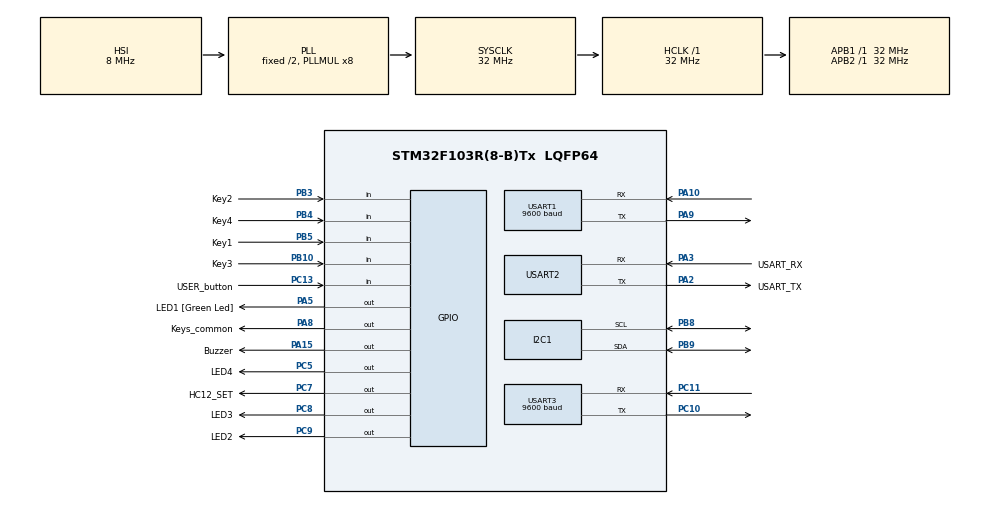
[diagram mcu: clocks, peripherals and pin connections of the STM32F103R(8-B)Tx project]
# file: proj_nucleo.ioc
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FREERTOS.Tasks01=defaultTask,0,128,StartDefaultTask,Default,NULL,Dynamic,NULL,NULL;Keys,0,128,KeysTask,Default,NULL,Dynamic,NULL,NULL
I2C1.I2C_Mode=I2C_Standard
Mcu.Family=STM32F1
Mcu.Name=STM32F103R(8-B)Tx
Mcu.Package=LQFP64
NVIC.PriorityGroup=NVIC_PRIORITYGROUP_4
NVIC.TIM4_IRQn=true\:0\:0\:false\:false\:true\:false\:false\:true
NVIC.TimeBase=TIM4_IRQn
NVIC.TimeBaseIP=TIM4
NVIC.USART1_IRQn=true\:5\:0\:false\:false\:true\:true\:true\:true
PA10.Mode=Asynchronous
PA10.Signal=USART1_RX
PA13.GPIO_Label=TMS
PA13.Mode=Serial_Wire
PA13.Signal=SYS_JTMS-SWDIO
PA14.GPIO_Label=TCK
PA14.Mode=Serial_Wire
PA14.Signal=SYS_JTCK-SWCLK
PA15.GPIO_Label=Buzzer
PA15.PinState=GPIO_PIN_SET
PA15.Signal=GPIO_Output
PA2.GPIO_Label=USART_TX
PA2.GPIO_Mode=GPIO_MODE_AF_PP
PA2.GPIO_PuPd=GPIO_NOPULL
PA2.GPIO_Speed=GPIO_SPEED_FREQ_LOW
PA2.Mode=Asynchronous
PA2.Signal=USART2_TX
PA3.GPIO_Label=USART_RX
PA3.GPIO_Mode=GPIO_MODE_AF_PP
PA3.GPIO_PuPd=GPIO_NOPULL
PA3.GPIO_Speed=GPIO_SPEED_FREQ_LOW
PA3.Mode=Asynchronous
PA3.Signal=USART2_RX
PA5.GPIO_Label=LED1 [Green Led]
PA5.GPIO_ModeDefaultOutputPP=GPIO_MODE_OUTPUT_PP
PA5.GPIO_PuPd=GPIO_NOPULL
PA5.GPIO_Speed=GPIO_SPEED_FREQ_LOW
PA5.PinState=GPIO_PIN_RESET
PA5.Signal=GPIO_Output
PA8.GPIO_Label=Keys_common
PA8.Signal=GPIO_Output
PA9.Mode=Asynchronous
PA9.Signal=USART1_TX
PB10.GPIO_Label=Key3
PB10.GPIO_PuPd=GPIO_PULLUP
PB10.Signal=GPIO_Input
PB3.GPIO_Label=Key2
PB3.GPIO_PuPd=GPIO_PULLUP
PB3.Signal=GPIO_Input
PB4.GPIO_Label=Key4
PB4.GPIO_PuPd=GPIO_PULLUP
PB4.Signal=GPIO_Input
PB5.GPIO_Label=Key1
PB5.GPIO_PuPd=GPIO_PULLUP
PB5.Signal=GPIO_Input
PB8.Mode=I2C
PB8.Signal=I2C1_SCL
PB9.Mode=I2C
PB9.Signal=I2C1_SDA
PC10.Mode=Asynchronous
PC10.Signal=USART3_TX
PC11.Mode=Asynchronous
PC11.Signal=USART3_RX
PC13-TAMPER-RTC.GPIO_Label=USER_button
PC13-TAMPER-RTC.GPIO_PuPd=GPIO_PULLUP
PC13-TAMPER-RTC.Signal=GPIO_Input
PC14-OSC32_IN.Mode=LSE-External-Oscillator
PC14-OSC32_IN.Signal=RCC_OSC32_IN
PC15-OSC32_OUT.Mode=LSE-External-Oscillator
PC15-OSC32_OUT.Signal=RCC_OSC32_OUT
PC5.GPIO_Label=LED4
PC5.PinState=GPIO_PIN_RESET
PC5.Signal=GPIO_Output
PC7.GPIO_Label=HC12_SET
PC7.PinState=GPIO_PIN_SET
PC7.Signal=GPIO_Output
PC8.GPIO_Label=LED3
PC8.Signal=GPIO_Output
PC9.GPIO_Label=LED2
PC9.PinState=GPIO_PIN_RESET
PC9.Signal=GPIO_Output
PD0-OSC_IN.Mode=HSE-External-Clock-Source
PD0-OSC_IN.Signal=RCC_OSC_IN
PD1-OSC_OUT.Mode=HSE-External-Clock-Source
PD1-OSC_OUT.Signal=RCC_OSC_OUT
ProjectManager.HeapSize=0x200
ProjectManager.StackSize=0x400
ProjectManager.TargetToolchain=MDK-ARM V5.27
RCC.AHBFreq_Value=32000000
RCC.APB1Freq_Value=32000000
RCC.APB1TimFreq_Value=32000000
RCC.APB2Freq_Value=32000000
RCC.APB2TimFreq_Value=32000000
RCC.HCLKFreq_Value=32000000
RCC.PLLMUL=RCC_PLL_MUL8
RCC.RTCClockSelection=RCC_RTCCLKSOURCE_LSE
RCC.SYSCLKFreq_VALUE=32000000
RCC.SYSCLKSource=RCC_SYSCLKSOURCE_PLLCLK
RCC.USBFreq_Value=32000000
USART1.BaudRate=9600
USART1.VirtualMode=VM_ASYNC
USART2.VirtualMode=VM_ASYNC
USART3.BaudRate=9600
USART3.VirtualMode=VM_ASYNC
VP_FREERTOS_VS_CMSIS_V1.Mode=CMSIS_V1
VP_SYS_VS_tim4.Mode=TIM4
VP_TIM3_VS_ClockSourceINT.Mode=Internal
VP_TIM3_VS_OPM.Mode=OPM_bit
board=NUCLEO-F103RB

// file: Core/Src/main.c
/* USER CODE BEGIN Header */
/**
  ******************************************************************************
  * @file           : main.c
  * @brief          : Main program body
  ******************************************************************************
  * @attention
  *
  * <h2><center>&copy; Copyright (c) 2020 STMicroelectronics.
  * All rights reserved.</center></h2>
  *
  * This software component is licensed by ST under BSD 3-Clause license,
  * the "License"; You may not use this file except in compliance with the
  * License. You may obtain a copy of the License at:
  *                        opensource.org/licenses/BSD-3-Clause
  *
  ******************************************************************************
  */
/* USER CODE END Header */

#include "main.h"
#include "cmsis_os.h"

/* USER CODE BEGIN Includes */

#include "lcd_led.h"

/* USER CODE END Includes */

I2C_HandleTypeDef hi2c1;

TIM_HandleTypeDef htim3;

UART_HandleTypeDef huart1;
UART_HandleTypeDef huart2;
UART_HandleTypeDef huart3;

osThreadId defaultTaskHandle;
osThreadId KeysHandle;
/* USER CODE BEGIN PV */

uint8_t 	but_press_counter=0, packets_old=0, keys=0;
uint16_t	address=0x4E;
uint32_t	time=0;
enum		Buzzer_state	buzzer_state=BUZZER_ON;
enum 		Screen_state	screen_state=SCREEN_ON;

extern	volatile	uint8_t		gor_left_error, gor_right_error, counter_led4, packet_counter;

osThreadId	errorTaskHandle;
osThreadId	userButtonTaskHandle;

/* USER CODE END PV */

void SystemClock_Config(void);
static void MX_GPIO_Init(void);
static void MX_USART2_UART_Init(void);
static void MX_USART1_UART_Init(void);
static void MX_I2C1_Init(void);
static void MX_USART3_UART_Init(void);
static void MX_TIM3_Init(void);
void StartDefaultTask(void const * argument);
void KeysTask(void const * argument);

/* USER CODE BEGIN PFP */

void	dspl_packets(void);
void	dspl_static_info(void);

void	ErrorIndicateTask(void const * argument);
void	UserButtonTask(void const * argument);

/* USER CODE END PFP */

int main(void)
{

  /* MCU Configuration--------------------------------------------------------*/

  /* Reset of all peripherals, Initializes the Flash interface and the Systick. */
  HAL_Init();

  /* Configure the system clock */
  SystemClock_Config();

  /* Initialize all configured peripherals */
  MX_GPIO_Init();
  MX_USART2_UART_Init();
  MX_USART1_UART_Init();
  MX_I2C1_Init();
  MX_USART3_UART_Init();
  MX_TIM3_Init();
  /* USER CODE BEGIN 2 */

	USART1->CR1 |= USART_CR1_RXNEIE;

	delay_init();
	delay_ms(3);	//event generate in delay_init doesn't help

	delay_ms(100);
//	HAL_GPIO_WritePin(LED3_GPIO_Port, LED3_Pin, GPIO_PIN_SET);
//	delay_ms(1000);

	display_2004_i2c_init(&hi2c1);

	dspl_static_info();

	dspl_packets();

  /* USER CODE END 2 */

  /* Create the thread(s) */
  /* definition and creation of defaultTask */
  osThreadDef(defaultTask, StartDefaultTask, osPriorityNormal, 0, 128);
  defaultTaskHandle = osThreadCreate(osThread(defaultTask), NULL);

  /* definition and creation of Keys */
  osThreadDef(Keys, KeysTask, osPriorityNormal, 0, 128);
  KeysHandle = osThreadCreate(osThread(Keys), NULL);

  /* USER CODE BEGIN RTOS_THREADS */

//	osThreadDef(errorTask, ErrorIndicateTask, osPriorityNormal, 0, 128);
//  errorTaskHandle = osThreadCreate(osThread(errorTask), NULL);

		osThreadDef(buttonTask, UserButtonTask, osPriorityNormal, 0, 128);
		userButtonTaskHandle = osThreadCreate(osThread(buttonTask), NULL);

	//vTaskSuspend(KeysHandle);

  /* USER CODE END RTOS_THREADS */

  /* Start scheduler */
  osKernelStart();

  /* We should never get here as control is now taken by the scheduler */

  /* Infinite loop */
  while (1)
  {

  }
}

void SystemClock_Config(void)
{
  RCC_OscInitTypeDef RCC_OscInitStruct = {0};
  RCC_ClkInitTypeDef RCC_ClkInitStruct = {0};

  /** Initializes the CPU, AHB and APB busses clocks
  */
  RCC_OscInitStruct.OscillatorType = RCC_OSCILLATORTYPE_HSI;
  RCC_OscInitStruct.HSIState = RCC_HSI_ON;
  RCC_OscInitStruct.HSICalibrationValue = RCC_HSICALIBRATION_DEFAULT;
  RCC_OscInitStruct.PLL.PLLState = RCC_PLL_ON;
  RCC_OscInitStruct.PLL.PLLSource = RCC_PLLSOURCE_HSI_DIV2;
  RCC_OscInitStruct.PLL.PLLMUL = RCC_PLL_MUL8;
  if (HAL_RCC_OscConfig(&RCC_OscInitStruct) != HAL_OK)
  {
    Error_Handler();
  }
  /** Initializes the CPU, AHB and APB busses clocks
  */
  RCC_ClkInitStruct.ClockType = RCC_CLOCKTYPE_HCLK|RCC_CLOCKTYPE_SYSCLK
                              |RCC_CLOCKTYPE_PCLK1|RCC_CLOCKTYPE_PCLK2;
  RCC_ClkInitStruct.SYSCLKSource = RCC_SYSCLKSOURCE_PLLCLK;
  RCC_ClkInitStruct.AHBCLKDivider = RCC_SYSCLK_DIV1;
  RCC_ClkInitStruct.APB1CLKDivider = RCC_HCLK_DIV1;
  RCC_ClkInitStruct.APB2CLKDivider = RCC_HCLK_DIV1;

  if (HAL_RCC_ClockConfig(&RCC_ClkInitStruct, FLASH_LATENCY_1) != HAL_OK)
  {
    Error_Handler();
  }
}

static void MX_I2C1_Init(void)
{

  hi2c1.Instance = I2C1;
  hi2c1.Init.ClockSpeed = 100000;
  hi2c1.Init.DutyCycle = I2C_DUTYCYCLE_2;
  hi2c1.Init.OwnAddress1 = 0;
  hi2c1.Init.AddressingMode = I2C_ADDRESSINGMODE_7BIT;
  hi2c1.Init.DualAddressMode = I2C_DUALADDRESS_DISABLE;
  hi2c1.Init.OwnAddress2 = 0;
  hi2c1.Init.GeneralCallMode = I2C_GENERALCALL_DISABLE;
  hi2c1.Init.NoStretchMode = I2C_NOSTRETCH_DISABLE;
  if (HAL_I2C_Init(&hi2c1) != HAL_OK)
  {
    Error_Handler();
  }

}

static void MX_TIM3_Init(void)
{

  TIM_ClockConfigTypeDef sClockSourceConfig = {0};
  TIM_MasterConfigTypeDef sMasterConfig = {0};

  htim3.Instance = TIM3;
  htim3.Init.Prescaler = 0;
  htim3.Init.CounterMode = TIM_COUNTERMODE_UP;
  htim3.Init.Period = 0;
  htim3.Init.ClockDivision = TIM_CLOCKDIVISION_DIV1;
  htim3.Init.AutoReloadPreload = TIM_AUTORELOAD_PRELOAD_DISABLE;
  if (HAL_TIM_Base_Init(&htim3) != HAL_OK)
  {
    Error_Handler();
  }
  sClockSourceConfig.ClockSource = TIM_CLOCKSOURCE_INTERNAL;
  if (HAL_TIM_ConfigClockSource(&htim3, &sClockSourceConfig) != HAL_OK)
  {
    Error_Handler();
  }
  if (HAL_TIM_OnePulse_Init(&htim3, TIM_OPMODE_SINGLE) != HAL_OK)
  {
    Error_Handler();
  }
  sMasterConfig.MasterOutputTrigger = TIM_TRGO_RESET;
  sMasterConfig.MasterSlaveMode = TIM_MASTERSLAVEMODE_DISABLE;
  if (HAL_TIMEx_MasterConfigSynchronization(&htim3, &sMasterConfig) != HAL_OK)
  {
    Error_Handler();
  }

}

static void MX_USART1_UART_Init(void)
{

  huart1.Instance = USART1;
  huart1.Init.BaudRate = 9600;
  huart1.Init.WordLength = UART_WORDLENGTH_8B;
  huart1.Init.StopBits = UART_STOPBITS_1;
  huart1.Init.Parity = UART_PARITY_NONE;
  huart1.Init.Mode = UART_MODE_TX_RX;
  huart1.Init.HwFlowCtl = UART_HWCONTROL_NONE;
  huart1.Init.OverSampling = UART_OVERSAMPLING_16;
  if (HAL_UART_Init(&huart1) != HAL_OK)
  {
    Error_Handler();
  }

}

static void MX_USART2_UART_Init(void)
{

  huart2.Instance = USART2;
  huart2.Init.BaudRate = 115200;
  huart2.Init.WordLength = UART_WORDLENGTH_8B;
  huart2.Init.StopBits = UART_STOPBITS_1;
  huart2.Init.Parity = UART_PARITY_NONE;
  huart2.Init.Mode = UART_MODE_TX_RX;
  huart2.Init.HwFlowCtl = UART_HWCONTROL_NONE;
  huart2.Init.OverSampling = UART_OVERSAMPLING_16;
  if (HAL_UART_Init(&huart2) != HAL_OK)
  {
    Error_Handler();
  }

}

static void MX_USART3_UART_Init(void)
{

  huart3.Instance = USART3;
  huart3.Init.BaudRate = 9600;
  huart3.Init.WordLength = UART_WORDLENGTH_8B;
  huart3.Init.StopBits = UART_STOPBITS_1;
  huart3.Init.Parity = UART_PARITY_NONE;
  huart3.Init.Mode = UART_MODE_TX_RX;
  huart3.Init.HwFlowCtl = UART_HWCONTROL_NONE;
  huart3.Init.OverSampling = UART_OVERSAMPLING_16;
  if (HAL_UART_Init(&huart3) != HAL_OK)
  {
    Error_Handler();
  }

}

static void MX_GPIO_Init(void)
{
  GPIO_InitTypeDef GPIO_InitStruct = {0};

  /* GPIO Ports Clock Enable */
  __HAL_RCC_GPIOC_CLK_ENABLE();
  __HAL_RCC_GPIOD_CLK_ENABLE();
  __HAL_RCC_GPIOA_CLK_ENABLE();
  __HAL_RCC_GPIOB_CLK_ENABLE();

  /*Configure GPIO pin Output Level */
  HAL_GPIO_WritePin(GPIOA, LED1_Pin|Keys_common_Pin, GPIO_PIN_RESET);

  /*Configure GPIO pin Output Level */
  HAL_GPIO_WritePin(GPIOC, LED4_Pin|LED3_Pin|LED2_Pin, GPIO_PIN_RESET);

  /*Configure GPIO pin Output Level */
  HAL_GPIO_WritePin(HC12_SET_GPIO_Port, HC12_SET_Pin, GPIO_PIN_SET);

  /*Configure GPIO pin Output Level */
  HAL_GPIO_WritePin(Buzzer_GPIO_Port, Buzzer_Pin, GPIO_PIN_SET);

  /*Configure GPIO pin : USER_button_Pin */
  GPIO_InitStruct.Pin = USER_button_Pin;
  GPIO_InitStruct.Mode = GPIO_MODE_INPUT;
  GPIO_InitStruct.Pull = GPIO_PULLUP;
  HAL_GPIO_Init(USER_button_GPIO_Port, &GPIO_InitStruct);

  /*Configure GPIO pins : LED1_Pin Keys_common_Pin Buzzer_Pin */
  GPIO_InitStruct.Pin = LED1_Pin|Keys_common_Pin|Buzzer_Pin;
  GPIO_InitStruct.Mode = GPIO_MODE_OUTPUT_PP;
  GPIO_InitStruct.Pull = GPIO_NOPULL;
  GPIO_InitStruct.Speed = GPIO_SPEED_FREQ_LOW;
  HAL_GPIO_Init(GPIOA, &GPIO_InitStruct);

  /*Configure GPIO pins : LED4_Pin HC12_SET_Pin LED3_Pin LED2_Pin */
  GPIO_InitStruct.Pin = LED4_Pin|HC12_SET_Pin|LED3_Pin|LED2_Pin;
  GPIO_InitStruct.Mode = GPIO_MODE_OUTPUT_PP;
  GPIO_InitStruct.Pull = GPIO_NOPULL;
  GPIO_InitStruct.Speed = GPIO_SPEED_FREQ_LOW;
  HAL_GPIO_Init(GPIOC, &GPIO_InitStruct);

  /*Configure GPIO pins : Key3_Pin Key2_Pin Key4_Pin Key1_Pin */
  GPIO_InitStruct.Pin = Key3_Pin|Key2_Pin|Key4_Pin|Key1_Pin;
  GPIO_InitStruct.Mode = GPIO_MODE_INPUT;
  GPIO_InitStruct.Pull = GPIO_PULLUP;
  HAL_GPIO_Init(GPIOB, &GPIO_InitStruct);

}

/* USER CODE BEGIN 4 */

void	dspl_packets(void)
{
	write_cmd_i2c(&hi2c1, D7_I2C|PACKET_COUNTER);
	write_data_i2c(&hi2c1, packets_old/100+48);
	write_data_i2c(&hi2c1, packets_old%100/10+48);
	write_data_i2c(&hi2c1, packets_old%100%10+48);
}

void	dspl_static_info(void)
{
	write_cmd_i2c(&hi2c1, D7_I2C|LINE_1_START);
	write_data_i2c(&hi2c1, 's');
	write_data_i2c(&hi2c1, 'k');
	write_data_i2c(&hi2c1, 'l');
	write_data_i2c(&hi2c1, 'a');
	write_data_i2c(&hi2c1, 'd');
	write_data_i2c(&hi2c1, ' ');
	write_data_i2c(&hi2c1, 'l');
	write_data_i2c(&hi2c1, 'e');
	write_data_i2c(&hi2c1, 'v');
	write_data_i2c(&hi2c1, 'a');
	write_data_i2c(&hi2c1, 'y');
	write_data_i2c(&hi2c1, 'a');
	write_cmd_i2c(&hi2c1, D7_I2C|LINE_2_START);
	write_data_i2c(&hi2c1, 's');
	write_data_i2c(&hi2c1, 'k');
	write_data_i2c(&hi2c1, 'l');
	write_data_i2c(&hi2c1, 'a');
	write_data_i2c(&hi2c1, 'd');
	write_data_i2c(&hi2c1, ' ');
	write_data_i2c(&hi2c1, 'p');
	write_data_i2c(&hi2c1, 'r');
	write_data_i2c(&hi2c1, 'a');
	write_data_i2c(&hi2c1, 'v');
	write_data_i2c(&hi2c1, 'a');
	write_data_i2c(&hi2c1, 'y');
	write_data_i2c(&hi2c1, 'a');
	write_cmd_i2c(&hi2c1, D7_I2C|(LINE_3_START+6));
	write_data_i2c(&hi2c1, '1');
	write_data_i2c(&hi2c1, '-');
	write_data_i2c(&hi2c1, 'm');
	write_data_i2c(&hi2c1, 'u');
	write_data_i2c(&hi2c1, 't');
	write_data_i2c(&hi2c1, 'e');
	write_cmd_i2c(&hi2c1, D7_I2C|LINE_4_START);
	write_data_i2c(&hi2c1, '2');
	write_data_i2c(&hi2c1, '-');
	write_data_i2c(&hi2c1, 'l');
	write_data_i2c(&hi2c1, 'e');
	write_data_i2c(&hi2c1, 'd');
	write_data_i2c(&hi2c1, 'o');
	write_data_i2c(&hi2c1, 'n');
	write_data_i2c(&hi2c1, ' ');
	write_data_i2c(&hi2c1, '3');
	write_data_i2c(&hi2c1, '-');
	write_data_i2c(&hi2c1, 'l');
	write_data_i2c(&hi2c1, 'e');
	write_data_i2c(&hi2c1, 'd');
	write_data_i2c(&hi2c1, 'o');
	write_data_i2c(&hi2c1, 'f');
	write_data_i2c(&hi2c1, 'f');
}

void	ErrorIndicateTask(void const * argument)
{
		for(;;)
		{
		if(gor_left_error)
		{
			HAL_GPIO_TogglePin(LED1_GPIO_Port, LED1_Pin);
			osDelay(100);
		}
		else
			HAL_GPIO_WritePin(LED1_GPIO_Port, LED1_Pin, GPIO_PIN_RESET);

		if(gor_right_error)
		{
			HAL_GPIO_TogglePin(LED2_GPIO_Port, LED2_Pin);
			osDelay(100);
		}
		else
			HAL_GPIO_WritePin(LED2_GPIO_Port, LED2_Pin, GPIO_PIN_RESET);

		osDelay(100);
		}
}

void	UserButtonTask(void const * argument)
{
	for(;;)
	{
			if(gor_left_error||gor_right_error)
			{
					if(buzzer_state==BUZZER_ON)
					{
						if( HAL_GPIO_ReadPin(USER_button_GPIO_Port, USER_button_Pin) )
						{																			//not pressed
							but_press_counter = 0;		//for debounce
						}
						else
						{																			//pressed
							but_press_counter += 1;
							if(but_press_counter==7)
							{
								buzzer_state = BUZZER_OFF;
								HAL_GPIO_WritePin(Buzzer_GPIO_Port, Buzzer_Pin, GPIO_PIN_SET);
								but_press_counter = 0;
								time = TIME_30_MIN;
							}
						}
					}

					if(buzzer_state==BUZZER_OFF)
					{
						time -= 1;
						if(!time)
							buzzer_state = BUZZER_ON;
					}

					osDelay(10);
			}
			else
			{
//					if(time)
//						time = 0;
//					if(buzzer_state==BUZZER_OFF)
//						buzzer_state = BUZZER_ON;

					osDelay(50);
			}
	}
}

/* USER CODE END 4 */

void StartDefaultTask(void const * argument)
{
  /* USER CODE BEGIN 5 */

  for(;;)
  {
		osDelay(100);

		if(gor_left_error)
		{
			HAL_GPIO_TogglePin(LED1_GPIO_Port, LED1_Pin);
			if(buzzer_state==BUZZER_ON)
				HAL_GPIO_TogglePin(Buzzer_GPIO_Port, Buzzer_Pin);
			write_cmd_i2c(&hi2c1, D7_I2C|GOR_LEFT_STATE);
			write_data_i2c(&hi2c1, 'e');
			write_data_i2c(&hi2c1, 'r');
			osDelay(100);
		}
		else
		{
			HAL_GPIO_WritePin(LED1_GPIO_Port, LED1_Pin, GPIO_PIN_RESET);
			HAL_GPIO_WritePin(Buzzer_GPIO_Port, Buzzer_Pin, GPIO_PIN_SET);
			write_cmd_i2c(&hi2c1, D7_I2C|GOR_LEFT_STATE);
			write_data_i2c(&hi2c1, 'o');
			write_data_i2c(&hi2c1, 'k');
			osDelay(200);
		}

		if(gor_right_error)
		{
			HAL_GPIO_TogglePin(LED2_GPIO_Port, LED2_Pin);
			if(buzzer_state==BUZZER_ON)
				HAL_GPIO_TogglePin(Buzzer_GPIO_Port, Buzzer_Pin);
			write_cmd_i2c(&hi2c1, D7_I2C|GOR_RIGHT_STATE);
			write_data_i2c(&hi2c1, 'e');
			write_data_i2c(&hi2c1, 'r');
			osDelay(100);
		}
		else
		{
			HAL_GPIO_WritePin(LED2_GPIO_Port, LED2_Pin, GPIO_PIN_RESET);
			HAL_GPIO_WritePin(Buzzer_GPIO_Port, Buzzer_Pin, GPIO_PIN_SET);
			write_cmd_i2c(&hi2c1, D7_I2C|GOR_RIGHT_STATE);
			write_data_i2c(&hi2c1, 'o');
			write_data_i2c(&hi2c1, 'k');
			osDelay(200);
		}

		osDelay(200);

		if(packets_old!=packet_counter)
		{
			packets_old = packet_counter;
			dspl_packets();
		}

		if(keys&KEY2_PRESS)
		{
			uint8_t tmp;
			tmp = LED_I2C;												//led on
			HAL_I2C_Master_Transmit(&hi2c1, address, &tmp, 1, 1000);
			screen_state = SCREEN_ON;
			keys &= ~KEY2_PRESS;
		}
		if(keys&KEY3_PRESS)
		{
			uint8_t tmp;
			tmp = 0;													//led off
			HAL_I2C_Master_Transmit(&hi2c1, address, &tmp, 1, 1000);
			screen_state = SCREEN_OFF;
			keys &= ~KEY3_PRESS;
		}
		if(keys&KEY1_PRESS)												//mute
		{
			if(buzzer_state==BUZZER_ON)
			{
				buzzer_state = BUZZER_OFF;
				HAL_GPIO_WritePin(Buzzer_GPIO_Port, Buzzer_Pin, GPIO_PIN_SET);
				time = TIME_30_MIN;
				keys &= ~KEY1_PRESS;
			}
		}

		osDelay(300);

//		HAL_GPIO_WritePin(HC12_SET_GPIO_Port, HC12_SET_Pin, GPIO_PIN_RESET);
//		osDelay(200);
//		while(!(USART1->SR&USART_SR_TXE))
//			;
//		USART1->DR = 'A';
//		while(!(USART1->SR&USART_SR_TXE))
//			;
//		USART1->DR = 'T';
//		while(!(USART1->SR&USART_SR_TXE))
//			;
//		USART1->DR = '+';
//		while(!(USART1->SR&USART_SR_TXE))
//			;
//		USART1->DR = 'R';
//		while(!(USART1->SR&USART_SR_TXE))
//			;
//		USART1->DR = 'X';
//		while(!(USART1->SR&USART_SR_TXE))
//			;
//		osDelay(3000);
//		USART1->DR = 'A';
//		while(!(USART1->SR&USART_SR_TXE))
//			;
//		USART1->DR = 'T';
//		while(!(USART1->SR&USART_SR_TXE))
//			;
//		USART1->DR = '+';
//		while(!(USART1->SR&USART_SR_TXE))
//			;
//		USART1->DR = 'V';
//		while(!(USART1->SR&USART_SR_TXE))
//			;
//		osDelay(200);
//		HAL_GPIO_WritePin(HC12_SET_GPIO_Port, HC12_SET_Pin, GPIO_PIN_SET);

  }

  /* USER CODE END 5 */
}

void KeysTask(void const * argument)
{
  /* USER CODE BEGIN KeysTask */
  /* Infinite loop */
  for(;;)
  {
		if(!HAL_GPIO_ReadPin(Key1_GPIO_Port, Key1_Pin))
			keys |= KEY1_PRESS;
		if(!HAL_GPIO_ReadPin(Key2_GPIO_Port, Key2_Pin))
			keys |= KEY2_PRESS;
		if(!HAL_GPIO_ReadPin(Key3_GPIO_Port, Key3_Pin))
			keys |= KEY3_PRESS;

		osDelay(100);
  }
  /* USER CODE END KeysTask */
}

void HAL_TIM_PeriodElapsedCallback(TIM_HandleTypeDef *htim)
{
  if (htim->Instance == TIM4) {
    HAL_IncTick();
  }
}

void Error_Handler(void)
{
}

/************************ (C) COPYRIGHT STMicroelectronics *****END OF FILE****/
